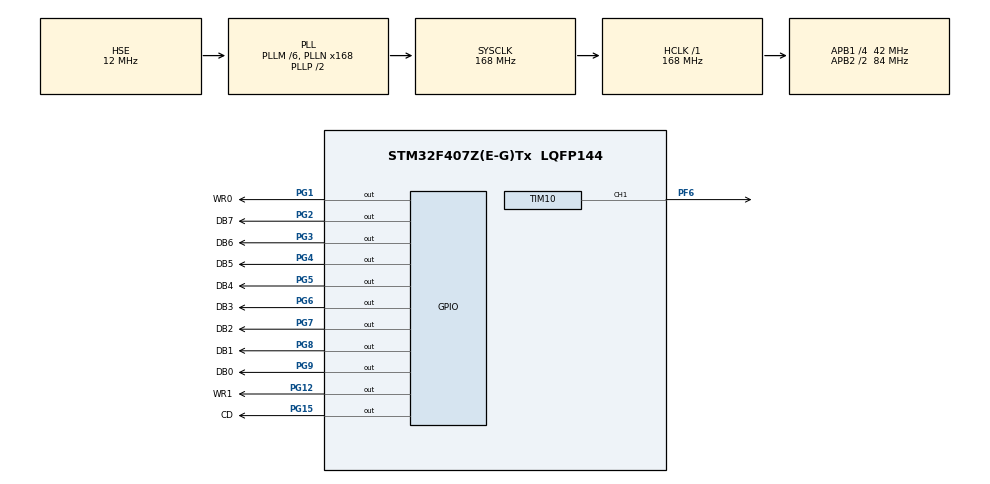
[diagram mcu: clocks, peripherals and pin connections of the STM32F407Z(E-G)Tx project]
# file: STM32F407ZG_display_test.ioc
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Mcu.Family=STM32F4
Mcu.Name=STM32F407Z(E-G)Tx
Mcu.Package=LQFP144
NVIC.PriorityGroup=NVIC_PRIORITYGROUP_4
PC14-OSC32_IN.Mode=LSE-External-Oscillator
PC14-OSC32_IN.Signal=RCC_OSC32_IN
PC15-OSC32_OUT.Mode=LSE-External-Oscillator
PC15-OSC32_OUT.Signal=RCC_OSC32_OUT
PF6.GPIO_Speed=GPIO_SPEED_FREQ_VERY_HIGH
PF6.Signal=S_TIM10_CH1
PG1.GPIO_Label=WR0
PG1.Signal=GPIO_Output
PG12.GPIO_Label=WR1
PG12.Signal=GPIO_Output
PG15.GPIO_Label=CD
PG15.Signal=GPIO_Output
PG2.GPIO_Label=DB7
PG2.Signal=GPIO_Output
PG3.GPIO_Label=DB6
PG3.Signal=GPIO_Output
PG4.GPIO_Label=DB5
PG4.Signal=GPIO_Output
PG5.GPIO_Label=DB4
PG5.Signal=GPIO_Output
PG6.GPIO_Label=DB3
PG6.Signal=GPIO_Output
PG7.GPIO_Label=DB2
PG7.Signal=GPIO_Output
PG8.GPIO_Label=DB1
PG8.Signal=GPIO_Output
PG9.GPIO_Label=DB0
PG9.Signal=GPIO_Output
PH0-OSC_IN.Mode=HSE-External-Oscillator
PH0-OSC_IN.Signal=RCC_OSC_IN
PH1-OSC_OUT.Mode=HSE-External-Oscillator
PH1-OSC_OUT.Signal=RCC_OSC_OUT
ProjectManager.HeapSize=0x200
ProjectManager.StackSize=0x400
ProjectManager.TargetToolchain=STM32CubeIDE
RCC.48MHZClocksFreq_Value=84000000
RCC.AHBFreq_Value=168000000
RCC.APB1CLKDivider=RCC_HCLK_DIV4
RCC.APB1Freq_Value=42000000
RCC.APB1TimFreq_Value=84000000
RCC.APB2CLKDivider=RCC_HCLK_DIV2
RCC.APB2Freq_Value=84000000
RCC.APB2TimFreq_Value=168000000
RCC.CortexFreq_Value=168000000
RCC.HCLKFreq_Value=168000000
RCC.HSE_VALUE=12000000
RCC.HSI_VALUE=16000000
RCC.PLLM=6
RCC.PLLN=168
RCC.PLLSourceVirtual=RCC_PLLSOURCE_HSE
RCC.SYSCLKFreq_VALUE=168000000
RCC.SYSCLKSource=RCC_SYSCLKSOURCE_PLLCLK
RCC.VCOOutputFreq_Value=336000000
SH.S_TIM10_CH1.0=TIM10_CH1,PWM Generation1 CH1
TIM10.Channel=TIM_CHANNEL_1
VP_TIM10_VS_ClockSourceINT.Mode=Enable_Timer
board=custom

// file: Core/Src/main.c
/* USER CODE BEGIN Header */
/**
  ******************************************************************************
  * @file           : main.c
  * @brief          : Main program body
  ******************************************************************************
  * @attention
  *
  * <h2><center>&copy; Copyright (c) 2022 STMicroelectronics.
  * All rights reserved.</center></h2>
  *
  * This software component is licensed by ST under BSD 3-Clause license,
  * the "License"; You may not use this file except in compliance with the
  * License. You may obtain a copy of the License at:
  *                        opensource.org/licenses/BSD-3-Clause
  *
  ******************************************************************************
  */
/* USER CODE END Header */
#include "main.h"

/* USER CODE BEGIN Includes */
#include "u8g2/u8g2.h"
#include <string.h>
/* USER CODE END Includes */

/* USER CODE BEGIN PTD */
static u8g2_t u8g2;
/* USER CODE END PTD */

TIM_HandleTypeDef htim10;

void SystemClock_Config(void);
static void MX_GPIO_Init(void);
static void MX_TIM10_Init(void);

/* USER CODE BEGIN 0 */
void delay_us (uint8_t us) {
	__HAL_TIM_SET_COUNTER(&htim10, 0);  // set the counter value a 0
	while (__HAL_TIM_GET_COUNTER(&htim10) < us);  // wait for the counter to reach the us input in the parameter
}

// U8G2 FUNCTION TO WORK PROPERLY (DISPLAY PINS ARE ASSIGNED HERE)
uint8_t u8g2_gpio_and_delay_stm32(U8X8_UNUSED u8x8_t *u8x8, U8X8_UNUSED uint8_t msg, U8X8_UNUSED uint8_t arg_int, U8X8_UNUSED void *arg_ptr) {
	switch (msg) {
	case U8X8_MSG_GPIO_AND_DELAY_INIT:
		HAL_GPIO_WritePin(WR1_GPIO_Port, WR1_Pin, 1);
		HAL_GPIO_WritePin(WR0_GPIO_Port, WR0_Pin, 1);
		HAL_Delay(1);
		break;
	case U8X8_MSG_DELAY_100NANO:		// delay arg_int * 100 nano seconds
		delay_us(arg_int / 10);
		break;
	case U8X8_MSG_DELAY_10MICRO:		// delay arg_int * 10 micro seconds
		delay_us(arg_int * 10);
		break;
	case U8X8_MSG_DELAY_MILLI:			// delay arg_int * 1 milli second
		HAL_Delay(arg_int);
		break;
	case U8X8_MSG_DELAY_NANO:			// delay arg_int * 1 milli second
		delay_us(arg_int / 1000);
		break;
	case U8X8_MSG_GPIO_D0:
		HAL_GPIO_WritePin(DB0_GPIO_Port, DB0_Pin, arg_int);
		break;
	case U8X8_MSG_GPIO_D1:
		HAL_GPIO_WritePin(DB1_GPIO_Port, DB1_Pin, arg_int);
		break;
	case U8X8_MSG_GPIO_D2:
		HAL_GPIO_WritePin(DB2_GPIO_Port, DB2_Pin, arg_int);
		break;
	case U8X8_MSG_GPIO_D3:
		HAL_GPIO_WritePin(DB3_GPIO_Port, DB3_Pin, arg_int);
		break;
	case U8X8_MSG_GPIO_D4:
		HAL_GPIO_WritePin(DB4_GPIO_Port, DB4_Pin, arg_int);
		break;
	case U8X8_MSG_GPIO_D5:
		HAL_GPIO_WritePin(DB5_GPIO_Port, DB5_Pin, arg_int);
		break;
	case U8X8_MSG_GPIO_D6:
		HAL_GPIO_WritePin(DB6_GPIO_Port, DB6_Pin, arg_int);
		break;
	case U8X8_MSG_GPIO_D7:
		HAL_GPIO_WritePin(DB7_GPIO_Port, DB7_Pin, arg_int);
		break;
	case U8X8_MSG_GPIO_DC:
		HAL_GPIO_WritePin(CD_GPIO_Port, CD_Pin, arg_int);
		break;					// used as E2 for the SED1520
	case U8X8_MSG_GPIO_E: // 72
		HAL_GPIO_WritePin(WR0_GPIO_Port, WR0_Pin, arg_int);
		break;
	}
	return 1;
}

void draw(void) {
  // graphic commands to redraw the complete screen should be placed here
  static uint8_t frame = 0;

  switch(frame){
    case 0:
    	u8g2_FirstPage(&u8g2);
    	do {
    		u8g2_DrawXBMP(&u8g2, 20, 0, skeletor_width, skeletor_height, skeletor_bits[0]);
		} while (u8g2_NextPage(&u8g2));
    	break;
    case 1:
    	u8g2_FirstPage(&u8g2);
		do {
			u8g2_DrawXBMP(&u8g2, 20, 0, skeletor_width, skeletor_height, skeletor_bits[1]);
		} while (u8g2_NextPage(&u8g2));
    	break;
    case 2:
    	u8g2_FirstPage(&u8g2);
		do {
			u8g2_DrawXBMP(&u8g2, 20, 0, skeletor_width, skeletor_height, skeletor_bits[2]);
		} while (u8g2_NextPage(&u8g2));
    	break;
    case 3:
    	u8g2_FirstPage(&u8g2);
		do {
			u8g2_DrawXBMP(&u8g2, 20, 0, skeletor_width, skeletor_height, skeletor_bits[3]);
		} while (u8g2_NextPage(&u8g2));
    	break;
  }
  frame++;

  if(frame>3){
    frame = 0;
  }
}
/* USER CODE END 0 */

int main(void)
{

  /* MCU Configuration--------------------------------------------------------*/

  /* Reset of all peripherals, Initializes the Flash interface and the Systick. */
  HAL_Init();

  /* Configure the system clock */
  SystemClock_Config();

  /* Initialize all configured peripherals */
  MX_GPIO_Init();
  MX_TIM10_Init();
  /* USER CODE BEGIN 2 */
  u8g2_Setup_uc1608_240x128_2(&u8g2, U8G2_R0, u8x8_byte_8bit_8080mode, u8g2_gpio_and_delay_stm32); //u8x8_byte_8bit_6800mode
  // OTHER DISPLAY STAFF
 	u8g2_InitDisplay(&u8g2); // send init sequence to the display, display is in sleep mode after this,
 	u8g2_SetPowerSave(&u8g2, 0); // wake up display
 	u8g2_ClearBuffer(&u8g2);
 	u8g2_ClearDisplay(&u8g2);
 	//u8g2_FirstPage(u8g2);
  /* USER CODE END 2 */

  /* Infinite loop */
  /* USER CODE BEGIN WHILE */
  while (1) {
  HAL_GPIO_TogglePin (CD_GPIO_Port, CD_Pin);
	HAL_Delay (1);   /* Insert delay 10 ms */
	HAL_GPIO_TogglePin (CD_GPIO_Port, CD_Pin);
	HAL_Delay (1);   /* Insert delay 10 ms */
  HAL_GPIO_TogglePin (WR0_GPIO_Port, WR0_Pin);
	HAL_Delay (1);   /* Insert delay 10 ms */
	HAL_GPIO_TogglePin (WR0_GPIO_Port, WR0_Pin);
	HAL_Delay (1);   /* Insert delay 10 ms */
	HAL_GPIO_TogglePin (WR1_GPIO_Port, WR1_Pin);
	HAL_Delay (1);   /* Insert delay 10 ms */
	HAL_GPIO_TogglePin (WR1_GPIO_Port, WR1_Pin);
	HAL_Delay (1);   /* Insert delay 10 ms */
	HAL_GPIO_TogglePin (DB0_GPIO_Port, DB0_Pin);
	HAL_Delay (1);   /* Insert delay 10 ms */
	HAL_GPIO_TogglePin (DB0_GPIO_Port, DB0_Pin);
	HAL_Delay (1);   /* Insert delay 10 ms */
	HAL_GPIO_TogglePin (DB1_GPIO_Port, DB1_Pin);
	HAL_Delay (1);   /* Insert delay 10 ms */
	HAL_GPIO_TogglePin (DB1_GPIO_Port, DB1_Pin);
	HAL_Delay (1);   /* Insert delay 10 ms */
	HAL_GPIO_TogglePin (DB2_GPIO_Port, DB2_Pin);
	HAL_Delay (1);   /* Insert delay 10 ms */
	HAL_GPIO_TogglePin (DB2_GPIO_Port, DB2_Pin);
	HAL_Delay (1);   /* Insert delay 10 ms */
	HAL_GPIO_TogglePin (DB3_GPIO_Port, DB3_Pin);
	HAL_Delay (1);   /* Insert delay 10 ms */
	HAL_GPIO_TogglePin (DB3_GPIO_Port, DB3_Pin);
	HAL_Delay (1);   /* Insert delay 10 ms */
	HAL_GPIO_TogglePin (DB4_GPIO_Port, DB4_Pin);
	HAL_Delay (1);   /* Insert delay 10 ms */
	HAL_GPIO_TogglePin (DB4_GPIO_Port, DB4_Pin);
	HAL_Delay (1);   /* Insert delay 10 ms */
	HAL_GPIO_TogglePin (DB5_GPIO_Port, DB5_Pin);
	HAL_Delay (1);   /* Insert delay 10 ms */
	HAL_GPIO_TogglePin (DB5_GPIO_Port, DB5_Pin);
	HAL_Delay (1);   /* Insert delay 10 ms */
	HAL_GPIO_TogglePin (DB6_GPIO_Port, DB6_Pin);
	HAL_Delay (1);   /* Insert delay 10 ms */
	HAL_GPIO_TogglePin (DB6_GPIO_Port, DB6_Pin);
	HAL_Delay (1);   /* Insert delay 10 ms */
	HAL_GPIO_TogglePin (DB7_GPIO_Port, DB7_Pin);
	HAL_Delay (1);   /* Insert delay 10 ms */
	HAL_GPIO_TogglePin (DB7_GPIO_Port, DB7_Pin);
	HAL_Delay (1);
//    u8g2_FirstPage(&u8g2);
//    do {
//    	draw();
//    } while (u8g2_NextPage(&u8g2));
    /* USER CODE END WHILE */

    /* USER CODE BEGIN 3 */
  }
  return 0;
  /* USER CODE END 3 */
}

void SystemClock_Config(void)
{
  RCC_OscInitTypeDef RCC_OscInitStruct = {0};
  RCC_ClkInitTypeDef RCC_ClkInitStruct = {0};

  /** Configure the main internal regulator output voltage
  */
  __HAL_RCC_PWR_CLK_ENABLE();
  __HAL_PWR_VOLTAGESCALING_CONFIG(PWR_REGULATOR_VOLTAGE_SCALE1);

  /** Initializes the RCC Oscillators according to the specified parameters
  * in the RCC_OscInitTypeDef structure.
  */
  RCC_OscInitStruct.OscillatorType = RCC_OSCILLATORTYPE_HSE;
  RCC_OscInitStruct.HSEState = RCC_HSE_ON;
  RCC_OscInitStruct.PLL.PLLState = RCC_PLL_ON;
  RCC_OscInitStruct.PLL.PLLSource = RCC_PLLSOURCE_HSE;
  RCC_OscInitStruct.PLL.PLLM = 6;
  RCC_OscInitStruct.PLL.PLLN = 168;
  RCC_OscInitStruct.PLL.PLLP = RCC_PLLP_DIV2;
  RCC_OscInitStruct.PLL.PLLQ = 4;
  if (HAL_RCC_OscConfig(&RCC_OscInitStruct) != HAL_OK)
  {
    Error_Handler();
  }

  /** Initializes the CPU, AHB and APB buses clocks
  */
  RCC_ClkInitStruct.ClockType = RCC_CLOCKTYPE_HCLK|RCC_CLOCKTYPE_SYSCLK
                              |RCC_CLOCKTYPE_PCLK1|RCC_CLOCKTYPE_PCLK2;
  RCC_ClkInitStruct.SYSCLKSource = RCC_SYSCLKSOURCE_PLLCLK;
  RCC_ClkInitStruct.AHBCLKDivider = RCC_SYSCLK_DIV1;
  RCC_ClkInitStruct.APB1CLKDivider = RCC_HCLK_DIV4;
  RCC_ClkInitStruct.APB2CLKDivider = RCC_HCLK_DIV2;

  if (HAL_RCC_ClockConfig(&RCC_ClkInitStruct, FLASH_LATENCY_5) != HAL_OK)
  {
    Error_Handler();
  }
}

static void MX_TIM10_Init(void)
{

  TIM_OC_InitTypeDef sConfigOC = {0};

  htim10.Instance = TIM10;
  htim10.Init.Prescaler = 0;
  htim10.Init.CounterMode = TIM_COUNTERMODE_UP;
  htim10.Init.Period = 65535;
  htim10.Init.ClockDivision = TIM_CLOCKDIVISION_DIV1;
  htim10.Init.AutoReloadPreload = TIM_AUTORELOAD_PRELOAD_DISABLE;
  if (HAL_TIM_Base_Init(&htim10) != HAL_OK)
  {
    Error_Handler();
  }
  if (HAL_TIM_PWM_Init(&htim10) != HAL_OK)
  {
    Error_Handler();
  }
  sConfigOC.OCMode = TIM_OCMODE_PWM1;
  sConfigOC.Pulse = 0;
  sConfigOC.OCPolarity = TIM_OCPOLARITY_HIGH;
  sConfigOC.OCFastMode = TIM_OCFAST_DISABLE;
  if (HAL_TIM_PWM_ConfigChannel(&htim10, &sConfigOC, TIM_CHANNEL_1) != HAL_OK)
  {
    Error_Handler();
  }
  HAL_TIM_MspPostInit(&htim10);

}

static void MX_GPIO_Init(void)
{
  GPIO_InitTypeDef GPIO_InitStruct = {0};

  /* GPIO Ports Clock Enable */
  __HAL_RCC_GPIOC_CLK_ENABLE();
  __HAL_RCC_GPIOF_CLK_ENABLE();
  __HAL_RCC_GPIOH_CLK_ENABLE();
  __HAL_RCC_GPIOG_CLK_ENABLE();

  /*Configure GPIO pin Output Level */
  HAL_GPIO_WritePin(GPIOG, WR0_Pin|DB7_Pin|DB6_Pin|DB5_Pin
                          |DB4_Pin|DB3_Pin|DB2_Pin|DB1_Pin
                          |DB0_Pin|WR1_Pin|CD_Pin, GPIO_PIN_RESET);

  /*Configure GPIO pins : WR0_Pin DB7_Pin DB6_Pin DB5_Pin
                           DB4_Pin DB3_Pin DB2_Pin DB1_Pin
                           DB0_Pin WR1_Pin CD_Pin */
  GPIO_InitStruct.Pin = WR0_Pin|DB7_Pin|DB6_Pin|DB5_Pin
                          |DB4_Pin|DB3_Pin|DB2_Pin|DB1_Pin
                          |DB0_Pin|WR1_Pin|CD_Pin;
  GPIO_InitStruct.Mode = GPIO_MODE_OUTPUT_PP;
  GPIO_InitStruct.Pull = GPIO_NOPULL;
  GPIO_InitStruct.Speed = GPIO_SPEED_FREQ_LOW;
  HAL_GPIO_Init(GPIOG, &GPIO_InitStruct);

}

void Error_Handler(void)
{
  __disable_irq();
  while (1)
  {
  }
}
